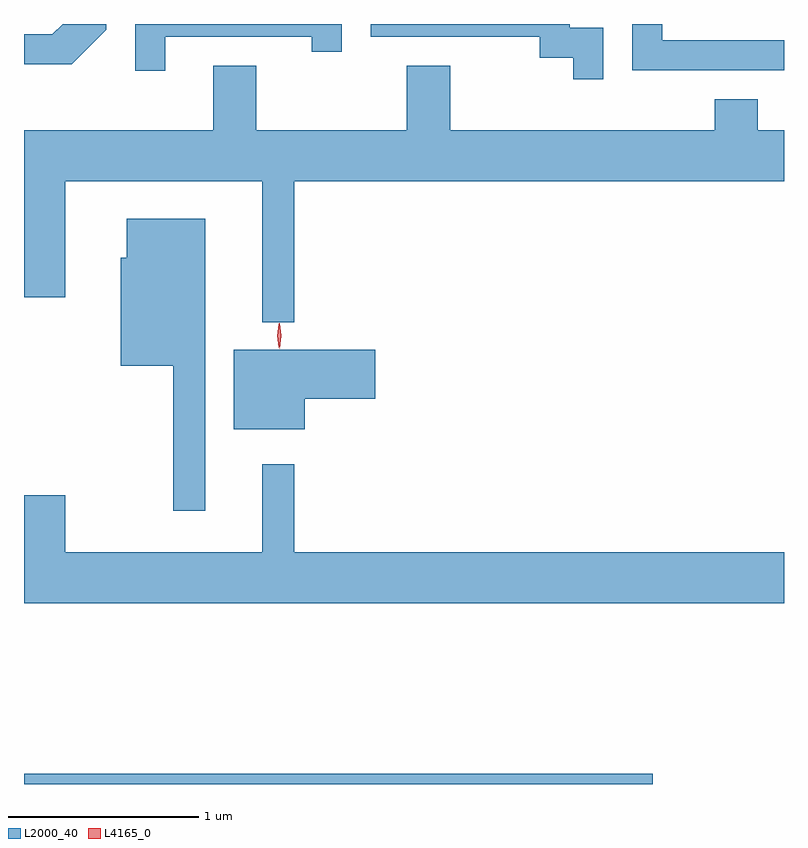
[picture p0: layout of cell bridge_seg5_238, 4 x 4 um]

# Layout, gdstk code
import gdstk
lib = gdstk.Library(unit=1e-6, precision=1e-09)
def R(c, l, rs):  # rectangles x0, y0, x1, y1
    for r in rs: c.add(gdstk.rectangle(r[:2], r[2:], *l))
def P(c, l, *ps):  # polygons
    for p in ps: c.add(gdstk.Polygon(p, *l))
L2000_40 = (2000, 40)
L4165_0 = (4165, 0)

bridge_seg5_238 = lib.new_cell('bridge_seg5_238')
R(bridge_seg5_238, L2000_40, [(974.366,1484.704,977.674,1484.759)])
P(bridge_seg5_238, L2000_40, [(978.366,1488.619),(977.724,1488.619),(977.724,1488.704),(977.566,1488.704),(977.566,1488.461),(978.366,1488.461)],
  [(977.414,1488.684),(977.239,1488.684),(977.239,1488.704),(976.191,1488.704),(976.191,1488.636),(977.081,1488.636),(977.081,1488.526),(977.256,1488.526),(977.256,1488.413),(977.414,1488.413)],
  [(975.109,1488.636),(975.881,1488.636),(975.881,1488.558),(976.039,1488.558),(976.039,1488.704),(974.951,1488.704),(974.951,1488.458),(975.109,1488.458)],
  [(974.799,1488.674),(974.799,1488.704),(974.569,1488.704),(974.514,1488.649),(974.366,1488.649),(974.366,1488.491),(974.617,1488.491)],
  [(975.789,1487.876),(978.366,1487.876),(978.366,1488.144),(978.229,1488.144),(978.229,1488.309),(978.001,1488.309),(978.001,1488.144),(976.609,1488.144),(976.609,1488.484),(976.381,1488.484),(976.381,1488.144),(975.589,1488.144),(975.589,1488.484),(975.361,1488.484),(975.361,1488.144),(974.366,1488.144),(974.366,1487.266),(974.584,1487.266),(974.584,1487.876),(975.621,1487.876),(975.621,1487.133),(975.789,1487.133)],
  [(975.319,1487.679),(974.906,1487.679),(974.906,1487.474),(974.876,1487.474),(974.876,1486.906),(975.151,1486.906),(975.151,1486.143),(975.319,1486.143)],
  [(975.844,1486.731),(976.214,1486.731),(976.214,1486.989),(975.471,1486.989),(975.471,1486.571),(975.844,1486.571)],
  [(978.366,1485.924),(975.789,1485.924),(975.789,1486.388),(975.621,1486.388),(975.621,1485.924),(974.584,1485.924),(974.584,1486.224),(974.366,1486.224),(974.366,1485.656),(978.366,1485.656)])
P(bridge_seg5_238, L4165_0, [(975.711,1486.994),(975.701,1487.062),(975.71,1487.13),(975.71,1487.13),(975.711,1487.13),(975.721,1487.062),(975.712,1486.994),(975.712,1486.994)],
  [(975.707,1487),(975.698,1487.063),(975.707,1487.126),(975.708,1487.127),(975.708,1487.126),(975.718,1487.063),(975.708,1487),(975.708,1487)])

lib.write_gds('bridge_seg5_238.gds')
